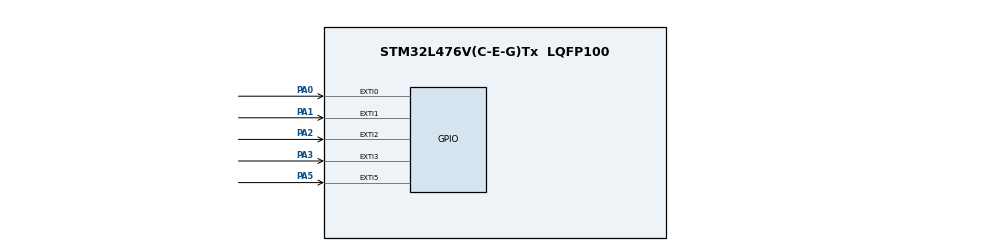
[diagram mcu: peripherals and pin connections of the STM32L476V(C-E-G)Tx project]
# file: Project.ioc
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Mcu.Family=STM32L4
Mcu.Name=STM32L476V(C-E-G)Tx
Mcu.Package=LQFP100
NVIC.EXTI0_IRQn=true\:0\:0\:true
NVIC.EXTI1_IRQn=true\:0\:0\:false
NVIC.EXTI2_IRQn=true\:0\:0\:false
NVIC.EXTI3_IRQn=true\:0\:0\:false
NVIC.EXTI9_5_IRQn=true\:0\:0\:false
NVIC.PriorityGroup=NVIC_PRIORITYGROUP_4
NVIC.RTC_WKUP_IRQn=true\:1\:0\:true
PA0.GPIO_ModeDefaultEXTI=GPIO_MODE_IT_FALLING
PA0.GPIO_PuPd=GPIO_PULLDOWN
PA0.Signal=GPXTI0
PA1.GPIO_ModeDefaultEXTI=GPIO_MODE_IT_FALLING
PA1.GPIO_PuPd=GPIO_PULLDOWN
PA1.Signal=GPXTI1
PA13.Mode=Serial-Wire
PA13.Signal=SYS_JTMS-SWDIO
PA14.Mode=Serial-Wire
PA14.Signal=SYS_JTCK-SWCLK
PA2.GPIO_ModeDefaultEXTI=GPIO_MODE_IT_FALLING
PA2.GPIO_PuPd=GPIO_PULLDOWN
PA2.Signal=GPXTI2
PA3.GPIO_ModeDefaultEXTI=GPIO_MODE_IT_FALLING
PA3.GPIO_PuPd=GPIO_PULLDOWN
PA3.Signal=GPXTI3
PA5.GPIO_ModeDefaultEXTI=GPIO_MODE_IT_FALLING
PA5.GPIO_PuPd=GPIO_PULLDOWN
PA5.Signal=GPXTI5
PC14/OSC32_IN.Mode=LSE-External-Oscillator
PC14/OSC32_IN.Signal=RCC_OSC32_IN
PC15/OSC32_OUT.Mode=LSE-External-Oscillator
PC15/OSC32_OUT.Signal=RCC_OSC32_OUT
ProjectManager.TargetToolchain=EWARM
RCC.HSE_VALUE=8000000
RCC.HSI_VALUE=16000000
RCC.MSI_VALUE=4000000
RCC.PREFETCH_ENABLE=1
RCC.RTCClockSelection=RCC_RTCCLKSOURCE_LSE
RCC.VCOOutputFreq_Value=32000000
RTC.WakeUpClock=RTC_WAKEUPCLOCK_CK_SPRE_16BITS
RTC.WakeUpCounter=59
VP_RTC_VS_RTC_WakeUp_intern.Mode=WakeUp
board=Project

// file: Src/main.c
/**
  ******************************************************************************
  * File Name          : main.c
  * Description        : Main program body
  ******************************************************************************
  *
  * COPYRIGHT(c) 2015 STMicroelectronics
  *
  * Redistribution and use in source and binary forms, with or without modification,
  * are permitted provided that the following conditions are met:
  *   1. Redistributions of source code must retain the above copyright notice,
  *      this list of conditions and the following disclaimer.
  *   2. Redistributions in binary form must reproduce the above copyright notice,
  *      this list of conditions and the following disclaimer in the documentation
  *      and/or other materials provided with the distribution.
  *   3. Neither the name of STMicroelectronics nor the names of its contributors
  *      may be used to endorse or promote products derived from this software
  *      without specific prior written permission.
  *
  * THIS SOFTWARE IS PROVIDED BY THE COPYRIGHT HOLDERS AND CONTRIBUTORS "AS IS"
  * AND ANY EXPRESS OR IMPLIED WARRANTIES, INCLUDING, BUT NOT LIMITED TO, THE
  * IMPLIED WARRANTIES OF MERCHANTABILITY AND FITNESS FOR A PARTICULAR PURPOSE ARE
  * DISCLAIMED. IN NO EVENT SHALL THE COPYRIGHT HOLDER OR CONTRIBUTORS BE LIABLE
  * FOR ANY DIRECT, INDIRECT, INCIDENTAL, SPECIAL, EXEMPLARY, OR CONSEQUENTIAL
  * DAMAGES (INCLUDING, BUT NOT LIMITED TO, PROCUREMENT OF SUBSTITUTE GOODS OR
  * SERVICES; LOSS OF USE, DATA, OR PROFITS; OR BUSINESS INTERRUPTION) HOWEVER
  * CAUSED AND ON ANY THEORY OF LIABILITY, WHETHER IN CONTRACT, STRICT LIABILITY,
  * OR TORT (INCLUDING NEGLIGENCE OR OTHERWISE) ARISING IN ANY WAY OUT OF THE USE
  * OF THIS SOFTWARE, EVEN IF ADVISED OF THE POSSIBILITY OF SUCH DAMAGE.
  *
  ******************************************************************************
  */
#include "stm32l4xx_hal.h"

/* USER CODE BEGIN Includes */
#include "stm32l476g_discovery.h"
#include "stm32l476g_discovery_glass_lcd.h"

/* USER CODE END Includes */

RTC_HandleTypeDef hrtc;

/* USER CODE BEGIN PV */
/* Private variables ---------------------------------------------------------*/
#define STR_SIZE 7
#define SCREEN_VOLUME 1
#define SCREEN_FLOW 2
#define SCREEN_SN 3
#define SCREEN_FIRST SCREEN_VOLUME
#define SCREEN_LAST SCREEN_SN
#define LCD_ON
#define LCD_COUNTDOWN_SEC     10

extern LCD_HandleTypeDef LCDHandle;

static const uint8_t sn[STR_SIZE-1] = {'S','N','1','2','3','4'};

static uint8_t str[STR_SIZE];
static volatile uint32_t volume = 0, flow = 0, flow_temp = 0;
static volatile uint8_t displayScreenNb = SCREEN_FIRST;
static int32_t lcdCountDown = 10;

/* USER CODE END PV */

void SystemClock_Config(void);
static void MX_GPIO_Init(void);
static void MX_RTC_Init(void);

/* USER CODE BEGIN PFP */
/* Private function prototypes -----------------------------------------------*/
//static void Error_Handler(void);
static void DisplayServ(void);

/* USER CODE END PFP */

int main(void)
{

  /* MCU Configuration----------------------------------------------------------*/

  /* Reset of all peripherals, Initializes the Flash interface and the Systick. */
  HAL_Init();

  /* Configure the system clock */
  SystemClock_Config();

  /* Initialize all configured peripherals */
  MX_GPIO_Init();

  /* USER CODE BEGIN 2 */
  BSP_JOY_Init(JOY_MODE_EXTI);

  #ifdef LCD_ON
      BSP_LCD_GLASS_Init();
  #endif

  HAL_RCCEx_WakeUpStopCLKConfig(RCC_STOP_WAKEUPCLOCK_MSI);
  HAL_SuspendTick();

  HAL_PWR_EnableWakeUpPin(PWR_WAKEUP_PIN1);

  /* Check and handle if the system was resumed from Shutdown mode */
  if(__HAL_PWR_GET_FLAG(PWR_FLAG_WUF1) != RESET)
  {
    /* Clear wake up flag */
    __HAL_PWR_CLEAR_FLAG(PWR_FLAG_WUF1);
    MX_RTC_Init();
  }
  else
  {
    HAL_PWREx_EnterSHUTDOWNMode();
  }

  /* USER CODE END 2 */

  /* Infinite loop */
  while (1)
  {

  /* USER CODE BEGIN 3 */
      #ifdef LCD_ON
          DisplayServ();
      #endif

      HAL_PWREx_EnterSTOP2Mode(PWR_STOPENTRY_WFI);
  }
  /* USER CODE END 3 */

}

/** System Clock Configuration
*/
void SystemClock_Config(void)
{

  RCC_OscInitTypeDef RCC_OscInitStruct;
  RCC_ClkInitTypeDef RCC_ClkInitStruct;
  RCC_PeriphCLKInitTypeDef PeriphClkInit;

  RCC_OscInitStruct.OscillatorType = RCC_OSCILLATORTYPE_LSE|RCC_OSCILLATORTYPE_MSI;
  RCC_OscInitStruct.LSEState = RCC_LSE_ON;
  RCC_OscInitStruct.MSIState = RCC_MSI_ON;
  RCC_OscInitStruct.MSICalibrationValue = 0;
  RCC_OscInitStruct.MSIClockRange = RCC_MSIRANGE_6;
  RCC_OscInitStruct.PLL.PLLState = RCC_PLL_NONE;
  HAL_RCC_OscConfig(&RCC_OscInitStruct);

  RCC_ClkInitStruct.ClockType = RCC_CLOCKTYPE_HCLK|RCC_CLOCKTYPE_SYSCLK
                              |RCC_CLOCKTYPE_PCLK1|RCC_CLOCKTYPE_PCLK2;
  RCC_ClkInitStruct.SYSCLKSource = RCC_SYSCLKSOURCE_MSI;
  RCC_ClkInitStruct.AHBCLKDivider = RCC_SYSCLK_DIV1;
  RCC_ClkInitStruct.APB1CLKDivider = RCC_HCLK_DIV1;
  RCC_ClkInitStruct.APB2CLKDivider = RCC_HCLK_DIV1;
  HAL_RCC_ClockConfig(&RCC_ClkInitStruct, FLASH_LATENCY_0);

  PeriphClkInit.PeriphClockSelection = RCC_PERIPHCLK_RTC;
  PeriphClkInit.RTCClockSelection = RCC_RTCCLKSOURCE_LSE;
  HAL_RCCEx_PeriphCLKConfig(&PeriphClkInit);

  __PWR_CLK_ENABLE();

  HAL_PWREx_ControlVoltageScaling(PWR_REGULATOR_VOLTAGE_SCALE2);

  HAL_SYSTICK_Config(HAL_RCC_GetHCLKFreq()/1000);

  HAL_SYSTICK_CLKSourceConfig(SYSTICK_CLKSOURCE_HCLK);

  /* SysTick_IRQn interrupt configuration */
  HAL_NVIC_SetPriority(SysTick_IRQn, 0, 0);
}

/* RTC init function */
void MX_RTC_Init(void)
{

  RTC_TimeTypeDef sTime;
  RTC_DateTypeDef sDate;
  RTC_AlarmTypeDef sAlarm;

    /**Initialize RTC and set the Time and Date
    */
  hrtc.Instance = RTC;
  hrtc.Init.HourFormat = RTC_HOURFORMAT_24;
  hrtc.Init.AsynchPrediv = 127;
  hrtc.Init.SynchPrediv = 255;
  hrtc.Init.OutPut = RTC_OUTPUT_DISABLE;
  hrtc.Init.OutPutRemap = RTC_OUTPUT_REMAP_PC13;
  hrtc.Init.OutPutPolarity = RTC_OUTPUT_POLARITY_HIGH;
  hrtc.Init.OutPutType = RTC_OUTPUT_TYPE_OPENDRAIN;
  HAL_RTC_Init(&hrtc);

  sTime.Hours = 0x0;
  sTime.Minutes = 0x0;
  sTime.Seconds = 0x0;
  sTime.TimeFormat = RTC_HOURFORMAT12_AM;
  sTime.DayLightSaving = RTC_DAYLIGHTSAVING_NONE;
  sTime.StoreOperation = RTC_STOREOPERATION_RESET;
  HAL_RTC_SetTime(&hrtc, &sTime, FORMAT_BCD);

  sDate.WeekDay = RTC_WEEKDAY_MONDAY;
  sDate.Month = RTC_MONTH_JANUARY;
  sDate.Date = 0x1;
  sDate.Year = 0x0;

  HAL_RTC_SetDate(&hrtc, &sDate, FORMAT_BCD);

    /**Enable the Alarm A
    */
  sAlarm.AlarmTime.Hours = 0x0;
  sAlarm.AlarmTime.Minutes = 0x0;
  sAlarm.AlarmTime.Seconds = 0x0;
  sAlarm.AlarmTime.TimeFormat = RTC_HOURFORMAT12_AM;
  sAlarm.AlarmTime.DayLightSaving = RTC_DAYLIGHTSAVING_NONE;
  sAlarm.AlarmTime.StoreOperation = RTC_STOREOPERATION_RESET;
  sAlarm.AlarmMask = RTC_ALARMMASK_ALL;
  sAlarm.AlarmSubSecondMask = RTC_ALARMSUBSECONDMASK_ALL;
  sAlarm.AlarmDateWeekDaySel = RTC_ALARMDATEWEEKDAYSEL_DATE;
  sAlarm.AlarmDateWeekDay = 1;
  sAlarm.Alarm = RTC_ALARM_A;
  HAL_RTC_SetAlarm_IT(&hrtc, &sAlarm, FORMAT_BCD);

    /**Enable the WakeUp
    */
  __HAL_RTC_WAKEUPTIMER_CLEAR_FLAG(&hrtc, RTC_FLAG_WUTF);
  HAL_RTCEx_SetWakeUpTimer_IT(&hrtc, 599, RTC_WAKEUPCLOCK_CK_SPRE_16BITS);

}

/** Configure pins as
        * Analog
        * Input
        * Output
        * EVENT_OUT
        * EXTI
        * Free pins are configured automatically as Analog (this feature is enabled through
        * the Code Generation settings)
*/
void MX_GPIO_Init(void)
{

  GPIO_InitTypeDef GPIO_InitStruct;

  /* GPIO Ports Clock Enable */
  __GPIOE_CLK_ENABLE();
  __GPIOC_CLK_ENABLE();
  __GPIOH_CLK_ENABLE();
  __GPIOA_CLK_ENABLE();
  __GPIOB_CLK_ENABLE();
  __GPIOD_CLK_ENABLE();

  /*Configure GPIO pins : PE2 PE3 PE4 PE5
                           PE6 PE7 PE8 PE9
                           PE10 PE11 PE12 PE13
                           PE14 PE15 PE0 PE1 */
  GPIO_InitStruct.Pin = GPIO_PIN_2|GPIO_PIN_3|GPIO_PIN_4|GPIO_PIN_5
                          |GPIO_PIN_6|GPIO_PIN_7|GPIO_PIN_8|GPIO_PIN_9
                          |GPIO_PIN_10|GPIO_PIN_11|GPIO_PIN_12|GPIO_PIN_13
                          |GPIO_PIN_14|GPIO_PIN_15|GPIO_PIN_0|GPIO_PIN_1;
  GPIO_InitStruct.Mode = GPIO_MODE_ANALOG;
  GPIO_InitStruct.Pull = GPIO_NOPULL;
  HAL_GPIO_Init(GPIOE, &GPIO_InitStruct);

  /*Configure GPIO pins : PC13 PC0 PC1 PC2
                           PC3 PC4 PC5 PC6
                           PC7 PC8 PC9 PC10
                           PC11 PC12 */
  GPIO_InitStruct.Pin = GPIO_PIN_13|GPIO_PIN_0|GPIO_PIN_1|GPIO_PIN_2
                          |GPIO_PIN_3|GPIO_PIN_4|GPIO_PIN_5|GPIO_PIN_6
                          |GPIO_PIN_7|GPIO_PIN_8|GPIO_PIN_9|GPIO_PIN_10
                          |GPIO_PIN_11|GPIO_PIN_12;
  GPIO_InitStruct.Mode = GPIO_MODE_ANALOG;
  GPIO_InitStruct.Pull = GPIO_NOPULL;
  HAL_GPIO_Init(GPIOC, &GPIO_InitStruct);

  /*Configure GPIO pins : PH0 PH1 */
  GPIO_InitStruct.Pin = GPIO_PIN_0|GPIO_PIN_1;
  GPIO_InitStruct.Mode = GPIO_MODE_ANALOG;
  GPIO_InitStruct.Pull = GPIO_NOPULL;
  HAL_GPIO_Init(GPIOH, &GPIO_InitStruct);

  /*Configure GPIO pins : PA0 PA1 PA2 PA3
                           PA5 */
  GPIO_InitStruct.Pin = GPIO_PIN_0|GPIO_PIN_1|GPIO_PIN_2|GPIO_PIN_3
                          |GPIO_PIN_5;
  GPIO_InitStruct.Mode = GPIO_MODE_IT_FALLING;
  GPIO_InitStruct.Pull = GPIO_PULLDOWN;
  HAL_GPIO_Init(GPIOA, &GPIO_InitStruct);

  /*Configure GPIO pins : PA4 PA6 PA7 PA8
                           PA9 PA10 PA11 PA12
                           PA15 */
  GPIO_InitStruct.Pin = GPIO_PIN_4|GPIO_PIN_6|GPIO_PIN_7|GPIO_PIN_8
                          |GPIO_PIN_9|GPIO_PIN_10|GPIO_PIN_11|GPIO_PIN_12
                          |GPIO_PIN_15;
  GPIO_InitStruct.Mode = GPIO_MODE_ANALOG;
  GPIO_InitStruct.Pull = GPIO_NOPULL;
  HAL_GPIO_Init(GPIOA, &GPIO_InitStruct);

  /*Configure GPIO pins : PB0 PB1 PB2 PB10
                           PB11 PB12 PB13 PB14
                           PB15 PB3 PB4 PB5
                           PB6 PB7 PB8 PB9 */
  GPIO_InitStruct.Pin = GPIO_PIN_0|GPIO_PIN_1|GPIO_PIN_10
                          |GPIO_PIN_11|GPIO_PIN_12|GPIO_PIN_13|GPIO_PIN_14
                          |GPIO_PIN_2|GPIO_PIN_15|GPIO_PIN_3|GPIO_PIN_4|GPIO_PIN_5
                          |GPIO_PIN_6|GPIO_PIN_7|GPIO_PIN_8|GPIO_PIN_9;
  GPIO_InitStruct.Mode = GPIO_MODE_ANALOG;
  GPIO_InitStruct.Pull = GPIO_NOPULL;
  HAL_GPIO_Init(GPIOB, &GPIO_InitStruct);

  /*Configure GPIO pins : PD8 PD9 PD10 PD11
                           PD12 PD13 PD14 PD15
                           PD0 PD1 PD2 PD3
                           PD4 PD5 PD6 PD7 */
  GPIO_InitStruct.Pin = GPIO_PIN_8|GPIO_PIN_9|GPIO_PIN_10|GPIO_PIN_11
                          |GPIO_PIN_12|GPIO_PIN_13|GPIO_PIN_14|GPIO_PIN_15
                          |GPIO_PIN_0|GPIO_PIN_1|GPIO_PIN_2|GPIO_PIN_3
                          |GPIO_PIN_4|GPIO_PIN_5|GPIO_PIN_6|GPIO_PIN_7;
  GPIO_InitStruct.Mode = GPIO_MODE_ANALOG;
  GPIO_InitStruct.Pull = GPIO_NOPULL;
  HAL_GPIO_Init(GPIOD, &GPIO_InitStruct);

    /* GPIO Ports Clock DIsable */
  __GPIOE_CLK_DISABLE();
  __GPIOC_CLK_DISABLE();
  __GPIOH_CLK_DISABLE();
  __GPIOD_CLK_DISABLE();
  __GPIOB_CLK_DISABLE();

  /* EXTI interrupt init*/
  HAL_NVIC_SetPriority(EXTI0_IRQn, 0, 0);
  HAL_NVIC_EnableIRQ(EXTI0_IRQn);

  HAL_NVIC_SetPriority(EXTI1_IRQn, 0, 0);
  HAL_NVIC_EnableIRQ(EXTI1_IRQn);

  HAL_NVIC_SetPriority(EXTI2_IRQn, 0, 0);
  HAL_NVIC_EnableIRQ(EXTI2_IRQn);

  HAL_NVIC_SetPriority(EXTI3_IRQn, 0, 0);
  HAL_NVIC_EnableIRQ(EXTI3_IRQn);

  HAL_NVIC_SetPriority(EXTI9_5_IRQn, 0, 0);
  HAL_NVIC_EnableIRQ(EXTI9_5_IRQn);

}

/* USER CODE BEGIN 4 */

/**
  * @brief  Display state machine implementation.
  * @param  None
  * @retval None
  */
void DisplayServ(void)
{
  switch (displayScreenNb)
  {
  case SCREEN_VOLUME:
    snprintf((char*)str,STR_SIZE,"%05dL",volume);
    break;
  case SCREEN_FLOW:
    snprintf((char*)str,STR_SIZE,"%3dL/m",flow);
    break;
  case SCREEN_SN:
    for(uint8_t i=0;i<(STR_SIZE-1);i++) {str[i]=sn[i];}
    break;
  default:
    snprintf((char*)str,STR_SIZE,"%05dL",volume);
    break;
  }
  BSP_LCD_GLASS_DisplayString(str);
}

/**
  * @brief  Wake Up Timer callback.
  * @param  hrtc: RTC handle
  * @retval None
  */
void HAL_RTCEx_WakeUpTimerEventCallback(RTC_HandleTypeDef *hrtc)
{
  flow = flow_temp;
  flow_temp = 0;
}

/**
  * @brief  EXTI line detection callback.
  * @param  GPIO_Pin: Specifies the port pin connected to corresponding EXTI line.
  * @retval None
  */
void HAL_GPIO_EXTI_Callback(uint16_t GPIO_Pin)
{

  if ((GPIO_Pin&SEL_JOY_PIN)!=RESET)  //Volume increasing
  {
    volume++;
    flow_temp++;
  }

  if ((GPIO_Pin&(LEFT_JOY_PIN|DOWN_JOY_PIN))!=RESET)  //Menu
  {
    if (displayScreenNb > SCREEN_FIRST) {displayScreenNb--;}
    else {displayScreenNb = SCREEN_LAST;}
  }

  if ((GPIO_Pin&(RIGHT_JOY_PIN|UP_JOY_PIN))!=RESET)  //Menu
  {
    if (displayScreenNb < SCREEN_LAST) {displayScreenNb++;}
    else {displayScreenNb = SCREEN_FIRST;}
  }

  if (lcdCountDown == -1)
  {
    /* Disable the write protection for RTC registers */
    __HAL_RTC_WRITEPROTECTION_DISABLE(&hrtc);

    /* Disable AlarmA */
    __HAL_RTC_ALARMA_ENABLE(&hrtc);

    /* Enable the write protection for RTC registers */
    __HAL_RTC_WRITEPROTECTION_ENABLE(&hrtc);

    /* Turn ON Glass LCD */
    __HAL_LCD_ENABLE(&LCDHandle);
  }

  lcdCountDown = LCD_COUNTDOWN_SEC;
}

/**
  * @brief  Alarm A callback.
  * @param  hrtc: RTC handle
  * @retval None
  */
void HAL_RTC_AlarmAEventCallback(RTC_HandleTypeDef *hrtc)
{
  lcdCountDown--;
  HAL_GPIO_TogglePin(GPIOB, GPIO_PIN_2);
  if (lcdCountDown == 0)
  {
    /* Disable the write protection for RTC registers */
    __HAL_RTC_WRITEPROTECTION_DISABLE(hrtc);

    /* Disable AlarmA */
    __HAL_RTC_ALARMA_DISABLE(hrtc);

    /* Enable the write protection for RTC registers */
    __HAL_RTC_WRITEPROTECTION_ENABLE(hrtc);

    /* Turn OFF Glass LCD */
    __HAL_LCD_DISABLE(&LCDHandle);
    lcdCountDown = -1;
  }
}

/*
void Error_Handler(void)
{
	while (1) {}
}
*/

/* USER CODE END 4 */

/************************ (C) COPYRIGHT STMicroelectronics *****END OF FILE****/
